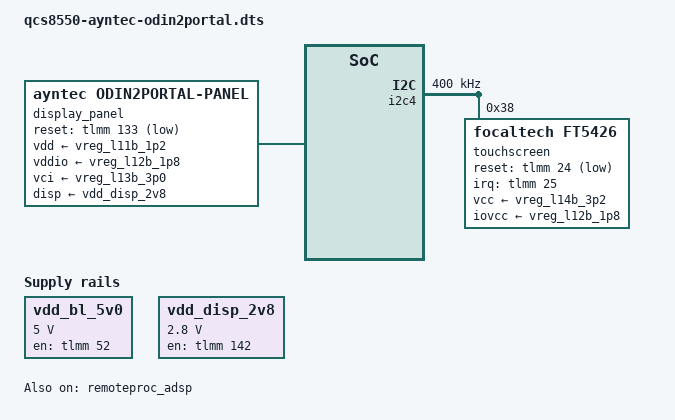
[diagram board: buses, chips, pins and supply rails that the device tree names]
// SPDX-License-Identifier: BSD-3-Clause
/*
 * Copyright (c) 2025, Teguh Sobirin.
 */

/dts-v1/;

#include <dt-bindings/gpio/gpio.h>
#include <dt-bindings/interrupt-controller/irq.h>
#include "qcs8550-ayntec-common.dtsi"

&{/} {
	model = "AYN Odin 2 Portal";
	compatible = "ayntec,odin2portal", "qcom,qcs8550", "qcom,sm8550";

	vdd_bl_5v0: vdd-bl-5v0-regulator {
		compatible = "regulator-fixed";
		regulator-name = "vdd_bl_5v0";

		regulator-min-microvolt = <5000000>;
		regulator-max-microvolt = <5000000>;

		gpio = <&tlmm 52 GPIO_ACTIVE_HIGH>;
		enable-active-high;
	};

	vdd_disp_2v8: vdd-disp-2v8-regulator {
		compatible = "regulator-fixed";
		regulator-name = "vdd_disp_2v8";

		regulator-min-microvolt = <2800000>;
		regulator-max-microvolt = <2800000>;

		gpio = <&tlmm 142 GPIO_ACTIVE_HIGH>;
		enable-active-high;
	};
};

&display_panel {
	compatible = "ayntec,odin2portal-panel", "chipone,icna3512";

	pinctrl-0 = <&dsi_p_rst_active>, <&dsi_p_te_active>;
	pinctrl-1 = <&dsi_p_rst_suspend>, <&dsi_p_te_suspend>;
	pinctrl-names = "default", "sleep";

	vdd-supply = <&vreg_l11b_1p2>;
	vddio-supply = <&vreg_l12b_1p8>;
	vci-supply = <&vreg_l13b_3p0>;
	disp-supply = <&vdd_disp_2v8>;
	blvdd-supply = <&vdd_bl_5v0>;

	reset-gpios = <&tlmm 133 GPIO_ACTIVE_LOW>;

	rotation = <270>;
};

&i2c4 {
	clock-frequency = <400000>;

	status = "okay";

	touchscreen@38 {
		compatible = "focaltech,ft5426";
		reg = <0x38>;

		interrupt-parent = <&tlmm>;
		interrupts = <25 IRQ_TYPE_EDGE_FALLING>;

		reset-gpios = <&tlmm 24 GPIO_ACTIVE_LOW>;

		vcc-supply = <&vreg_l14b_3p2>;
		iovcc-supply = <&vreg_l12b_1p8>;

		pinctrl-0 = <&ts_p_rst_default &ts_p_int_default>;
		pinctrl-1 = <&ts_p_rst_sleep &ts_p_int_sleep>;
		pinctrl-names = "default", "sleep";

		touchscreen-size-x = <1080>;
		touchscreen-size-y = <1920>;
		touchscreen-swapped-x-y;
		touchscreen-inverted-y;
	};
};

&remoteproc_adsp {
	firmware-name = "qcom/sm8550/ayntec/odin2portal/adsp.mbn",
			"qcom/sm8550/ayntec/odin2portal/adsp_dtb.mbn";

	status = "okay";
};

&spk_amp_l {
	firmware-name = "qcom/sm8550/ayntec/odin2portal/aw883xx_acf.bin";
};

&spk_amp_r {
	firmware-name = "qcom/sm8550/ayntec/odin2portal/aw883xx_acf.bin";
};

